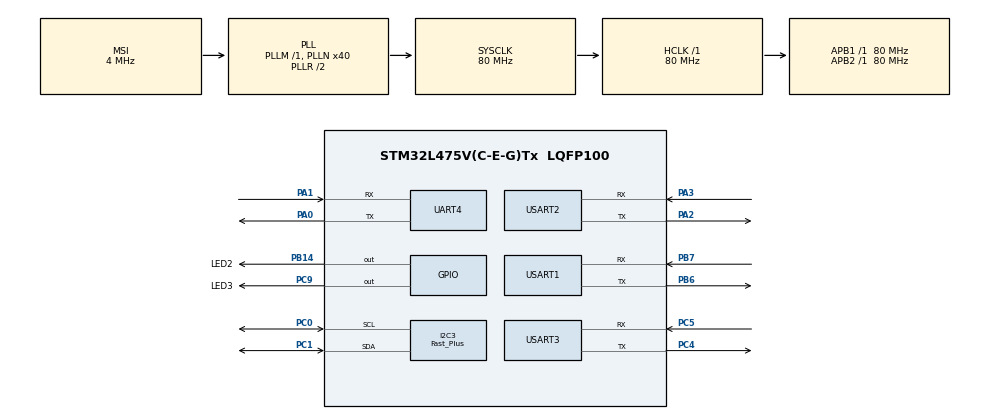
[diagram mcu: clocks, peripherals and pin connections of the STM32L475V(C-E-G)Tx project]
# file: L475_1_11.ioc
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Dma.I2C3_TX.0.Direction=DMA_MEMORY_TO_PERIPH
Dma.I2C3_TX.0.Instance=DMA1_Channel2
Dma.I2C3_TX.0.MemDataAlignment=DMA_MDATAALIGN_BYTE
Dma.I2C3_TX.0.MemInc=DMA_MINC_ENABLE
Dma.I2C3_TX.0.Mode=DMA_NORMAL
Dma.I2C3_TX.0.PeriphDataAlignment=DMA_PDATAALIGN_BYTE
Dma.I2C3_TX.0.PeriphInc=DMA_PINC_DISABLE
Dma.I2C3_TX.0.Priority=DMA_PRIORITY_LOW
Dma.Request0=I2C3_TX
FREERTOS.Tasks01=defaultTask,24,128,StartDefaultTask,Default,NULL,Dynamic,NULL,NULL
FREERTOS.Timers01=OledTimer,OledCallback,osTimerPeriodic,Default,NULL,Dynamic,NULL;msTimer,msTimerCallback,osTimerPeriodic,Default,NULL,Dynamic,NULL
FREERTOS.configENABLE_FPU=1
I2C3.I2C_Speed_Mode=I2C_Fast_Plus
I2C3.Timing=0x00B10E24
Mcu.Family=STM32L4
Mcu.Name=STM32L475V(C-E-G)Tx
Mcu.Package=LQFP100
NVIC.DMA1_Channel2_IRQn=true\:5\:0\:false\:false\:true\:true\:false\:true\:true
NVIC.I2C3_EV_IRQn=true\:5\:0\:false\:false\:true\:true\:true\:true\:true
NVIC.PriorityGroup=NVIC_PRIORITYGROUP_4
PA0.Mode=Asynchronous
PA0.Signal=UART4_TX
PA1.Mode=Asynchronous
PA1.Signal=UART4_RX
PA13\ (JTMS-SWDIO).Mode=Serial_Wire
PA13\ (JTMS-SWDIO).Signal=SYS_JTMS-SWDIO
PA14\ (JTCK-SWCLK).Mode=Serial_Wire
PA14\ (JTCK-SWCLK).Signal=SYS_JTCK-SWCLK
PA2.Mode=Asynchronous
PA2.Signal=USART2_TX
PA3.Mode=Asynchronous
PA3.Signal=USART2_RX
PB14.GPIO_Label=LED2
PB14.PinState=GPIO_PIN_SET
PB14.Signal=GPIO_Output
PB6.Mode=Asynchronous
PB6.Signal=USART1_TX
PB7.Mode=Asynchronous
PB7.Signal=USART1_RX
PC0.Mode=I2C
PC0.Signal=I2C3_SCL
PC1.Mode=I2C
PC1.Signal=I2C3_SDA
PC14-OSC32_IN\ (PC14).Mode=LSE-External-Oscillator
PC14-OSC32_IN\ (PC14).Signal=RCC_OSC32_IN
PC15-OSC32_OUT\ (PC15).Mode=LSE-External-Oscillator
PC15-OSC32_OUT\ (PC15).Signal=RCC_OSC32_OUT
PC4.Mode=Asynchronous
PC4.Signal=USART3_TX
PC5.Mode=Asynchronous
PC5.Signal=USART3_RX
PC9.GPIO_Label=LED3
PC9.Signal=GPIO_Output
ProjectManager.HeapSize=0x200
ProjectManager.StackSize=0x400
ProjectManager.TargetToolchain=STM32CubeIDE
RCC.ADCFreq_Value=16000000
RCC.AHBFreq_Value=80000000
RCC.APB1Freq_Value=80000000
RCC.APB1TimFreq_Value=80000000
RCC.APB2Freq_Value=80000000
RCC.APB2TimFreq_Value=80000000
RCC.CortexFreq_Value=80000000
RCC.HCLKFreq_Value=80000000
RCC.HSE_VALUE=8000000
RCC.HSI_VALUE=16000000
RCC.LSE_Drive_CapabilityArg=+LSE_Drive_Capability
RCC.MSIAutoCalibration=ENABLED
RCC.MSI_VALUE=4000000
RCC.PLLN=40
RCC.SYSCLKFreq_VALUE=80000000
RCC.SYSCLKSource=RCC_SYSCLKSOURCE_PLLCLK
RCC.USBFreq_Value=16000000
RCC.VCOOutputFreq_Value=160000000
USART1.VirtualMode-Asynchronous=VM_ASYNC
USART2.VirtualMode-Asynchronous=VM_ASYNC
USART3.VirtualMode-Asynchronous=VM_ASYNC
VP_FREERTOS_VS_CMSIS_V2.Mode=CMSIS_V2
board=custom

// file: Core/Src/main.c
/* USER CODE BEGIN Header */
/**
  ******************************************************************************
  * @file           : main.c
  * @brief          : Main program body
  ******************************************************************************
  * @attention
  *
  * Copyright (c) 2026 STMicroelectronics.
  * All rights reserved.
  *
  * This software is licensed under terms that can be found in the LICENSE file
  * in the root directory of this software component.
  * If no LICENSE file comes with this software, it is provided AS-IS.
  *
  ******************************************************************************
  */
/* USER CODE END Header */
#include "main.h"
#include "cmsis_os.h"
#include "dma.h"
#include "i2c.h"
#include "usart.h"
#include "gpio.h"

/* USER CODE BEGIN PV */
uint32_t FPS_Count= 0;
uint32_t FPS = 0;
int debug[10];
float debug_float[10];

/* USER CODE END PV */

void SystemClock_Config(void);
void MX_FREERTOS_Init(void);

int main(void)
{

  /* MCU Configuration--------------------------------------------------------*/

  /* Reset of all peripherals, Initializes the Flash interface and the Systick. */
  HAL_Init();

  /* Configure the system clock */
  SystemClock_Config();

  /* Initialize all configured peripherals */
  MX_GPIO_Init();
  MX_DMA_Init();
  MX_I2C3_Init();
  MX_UART4_Init();
  MX_USART1_UART_Init();
  MX_USART2_UART_Init();
  MX_USART3_UART_Init();
  /* USER CODE BEGIN 2 */
  InitGraph();
  ClearScreen();
  HAL_I2C_Mem_Write_DMA(&hi2c3, OLED_ADDRESS, 0x40, I2C_MEMADD_SIZE_8BIT, ScreenBuffer[0], SCREEN_PAGE_NUM * SCREEN_PAGEDATA_NUM);
  SetFontSize(0);
  OLED_LOGO();
  HAL_I2C_Mem_Write_DMA(&hi2c3, OLED_ADDRESS, 0x40, I2C_MEMADD_SIZE_8BIT, ScreenBuffer[0], SCREEN_PAGE_NUM * SCREEN_PAGEDATA_NUM);
  HAL_Delay(1000);
  ClearScreen();

  	DrawString(0,0,"STM32L475VG OLED");
  	DrawString(0,2,"   2026-02-10");
  	DrawString(0,4,"  hardware iic");
  	DrawString(50,6, "FPS: ");
    // float num1=-231.24;
    // float num2=-23.769;
  	// OLED_Showdecimal(0,0,num1,3,2);
  	// OLED_Showdecimal(7,6,num2,2,3);
  	// DrawString(0,0, "adc");

  // DrawString(0,0,"k");
  // DrawString(39,0,"e");
  // DrawString(77,0,"%");
  // DrawString(93,0,"m");
  // DrawString(0,2, "iv");
  // DrawString(66,2,"ov");
  // DrawString(0,4, "ic");
  // DrawString(66,4,"oc");
  // DrawString(0,6, "ip");
  // DrawString(66,6,"op");

  HAL_I2C_Mem_Write_DMA(&hi2c3, OLED_ADDRESS, 0x40, I2C_MEMADD_SIZE_8BIT, ScreenBuffer[0], SCREEN_PAGE_NUM * SCREEN_PAGEDATA_NUM);
  /* USER CODE END 2 */

  /* Init scheduler */
  osKernelInitialize();  /* Call init function for freertos objects (in cmsis_os2.c) */
  MX_FREERTOS_Init();

  /* Start scheduler */
  osKernelStart();

  /* We should never get here as control is now taken by the scheduler */

  /* Infinite loop */
  while (1)
  {

  }
}

void SystemClock_Config(void)
{
  RCC_OscInitTypeDef RCC_OscInitStruct = {0};
  RCC_ClkInitTypeDef RCC_ClkInitStruct = {0};

  /** Configure the main internal regulator output voltage
  */
  if (HAL_PWREx_ControlVoltageScaling(PWR_REGULATOR_VOLTAGE_SCALE1) != HAL_OK)
  {
    Error_Handler();
  }

  /** Configure LSE Drive Capability
  */
  HAL_PWR_EnableBkUpAccess();
  __HAL_RCC_LSEDRIVE_CONFIG(RCC_LSEDRIVE_LOW);

  /** Initializes the RCC Oscillators according to the specified parameters
  * in the RCC_OscInitTypeDef structure.
  */
  RCC_OscInitStruct.OscillatorType = RCC_OSCILLATORTYPE_LSE|RCC_OSCILLATORTYPE_MSI;
  RCC_OscInitStruct.LSEState = RCC_LSE_ON;
  RCC_OscInitStruct.MSIState = RCC_MSI_ON;
  RCC_OscInitStruct.MSICalibrationValue = 0;
  RCC_OscInitStruct.MSIClockRange = RCC_MSIRANGE_6;
  RCC_OscInitStruct.PLL.PLLState = RCC_PLL_ON;
  RCC_OscInitStruct.PLL.PLLSource = RCC_PLLSOURCE_MSI;
  RCC_OscInitStruct.PLL.PLLM = 1;
  RCC_OscInitStruct.PLL.PLLN = 40;
  RCC_OscInitStruct.PLL.PLLP = RCC_PLLP_DIV7;
  RCC_OscInitStruct.PLL.PLLQ = RCC_PLLQ_DIV2;
  RCC_OscInitStruct.PLL.PLLR = RCC_PLLR_DIV2;
  if (HAL_RCC_OscConfig(&RCC_OscInitStruct) != HAL_OK)
  {
    Error_Handler();
  }

  /** Initializes the CPU, AHB and APB buses clocks
  */
  RCC_ClkInitStruct.ClockType = RCC_CLOCKTYPE_HCLK|RCC_CLOCKTYPE_SYSCLK
                              |RCC_CLOCKTYPE_PCLK1|RCC_CLOCKTYPE_PCLK2;
  RCC_ClkInitStruct.SYSCLKSource = RCC_SYSCLKSOURCE_PLLCLK;
  RCC_ClkInitStruct.AHBCLKDivider = RCC_SYSCLK_DIV1;
  RCC_ClkInitStruct.APB1CLKDivider = RCC_HCLK_DIV1;
  RCC_ClkInitStruct.APB2CLKDivider = RCC_HCLK_DIV1;

  if (HAL_RCC_ClockConfig(&RCC_ClkInitStruct, FLASH_LATENCY_4) != HAL_OK)
  {
    Error_Handler();
  }

  /** Enable MSI Auto calibration
  */
  HAL_RCCEx_EnableMSIPLLMode();
}

void Error_Handler(void)
{
  __disable_irq();
  while (1)
  {
  }
}

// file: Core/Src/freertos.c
/* USER CODE BEGIN Header */
/**
  ******************************************************************************
  * File Name          : freertos.c
  * Description        : Code for freertos applications
  ******************************************************************************
  * @attention
  *
  * Copyright (c) 2026 STMicroelectronics.
  * All rights reserved.
  *
  * This software is licensed under terms that can be found in the LICENSE file
  * in the root directory of this software component.
  * If no LICENSE file comes with this software, it is provided AS-IS.
  *
  ******************************************************************************
  */
/* USER CODE END Header */

#include "FreeRTOS.h"
#include "task.h"
#include "main.h"
#include "cmsis_os.h"

/* USER CODE BEGIN Includes */
#include <stdio.h>
#include <string.h>
#include "oled_font.h"

/* USER CODE END Includes */

/* USER CODE BEGIN Variables */
float ELEC_inv=0.0f;
float ELEC_inc=0.0f;
float ELEC_outc=0.0f;
float ELEC_capv=0.0f;
float ELEC_capc=0.0f;
float ELEC_capp=0.0f;
float ELEC_inp=0.0f;
float ADC_VALUE=0.0f;
float ELEC_inp_capp=0.0f;
float ELEC_pe=0.0f;

typedef struct {
  uint16_t year;
  uint8_t  month;
  uint8_t  day;
  uint8_t  hour;
  uint8_t  min;
  uint8_t  sec;
} DateTime;

static DateTime g_time;

static char g_line2[17]; // y=2 date line (16 chars + '\0')
static char g_line4[17]; // y=4 time line (16 chars + '\0')

/* USER CODE END Variables */
/* Definitions for defaultTask */
osThreadId_t defaultTaskHandle;
const osThreadAttr_t defaultTask_attributes = {
  .name = "defaultTask",
  .stack_size = 128 * 4,
  .priority = (osPriority_t) osPriorityNormal,
};
/* Definitions for OledTimer */
osTimerId_t OledTimerHandle;
const osTimerAttr_t OledTimer_attributes = {
  .name = "OledTimer"
};
/* Definitions for msTimer */
osTimerId_t msTimerHandle;
const osTimerAttr_t msTimer_attributes = {
  .name = "msTimer"
};

/* USER CODE BEGIN FunctionPrototypes */
static uint8_t is_leap_year(uint16_t y);
static uint8_t days_in_month(uint16_t y, uint8_t m);

static void Clock_SetInitial(uint16_t y, uint8_t mo, uint8_t d,
                             uint8_t h, uint8_t mi, uint8_t s);
static void Clock_Tick1s(void);
static void Clock_DrawLine4(void);
static void Clock_DrawDateLine2(void);
static void Clock_DrawTimeLine4(void);

/* USER CODE END FunctionPrototypes */

void StartDefaultTask(void *argument);
void OledCallback(void *argument);
void msTimerCallback(void *argument);

void MX_FREERTOS_Init(void); /* (MISRA C 2004 rule 8.1) */

void MX_FREERTOS_Init(void) {

  /* Create the timer(s) */
  /* creation of OledTimer */
  OledTimerHandle = osTimerNew(OledCallback, osTimerPeriodic, NULL, &OledTimer_attributes);

  /* creation of msTimer */
  msTimerHandle = osTimerNew(msTimerCallback, osTimerPeriodic, NULL, &msTimer_attributes);

  /* USER CODE BEGIN RTOS_TIMERS */
  /* start timers, add new ones, ... */
  // osTimerStart(OledTimerHandle,500);
  // osTimerStart(msTimerHandle,50);

  osTimerStart(OledTimerHandle,100);
  osTimerStart(msTimerHandle,10);

  /* USER CODE END RTOS_TIMERS */

  /* Create the thread(s) */
  /* creation of defaultTask */
  defaultTaskHandle = osThreadNew(StartDefaultTask, NULL, &defaultTask_attributes);

}

void StartDefaultTask(void *argument)
{
  /* USER CODE BEGIN StartDefaultTask */

  // 放在 for(;;) 前面
  Clock_SetInitial(2026, 2, 11, 19, 30,58 );  // 你想要的初始时间：2026-02-10 12:00:00
  static uint32_t ms_Count = 0;

  /* Infinite loop */
  for(;;)
  {
    osDelay(1);

    if(++ms_Count >= 1000)
    {
      ms_Count = 0;

      Clock_Tick1s();
      taskENTER_CRITICAL();
      FPS = FPS_Count;
      FPS_Count = 0;
      taskEXIT_CRITICAL();

      Clock_DrawDateLine2();   // y=2
      Clock_DrawTimeLine4();   // y=4
      // FPS stays at y=6 from msTimerCallback(): DrawNum(80,6,...)
    }

  }
  /* USER CODE END StartDefaultTask */
}

/* OledCallback function */
void OledCallback(void *argument)
{
  /* USER CODE BEGIN OledCallback */
  HAL_GPIO_TogglePin(LED2_GPIO_Port,LED2_Pin);
  HAL_GPIO_TogglePin(LED3_GPIO_Port,LED3_Pin);

  /* USER CODE END OledCallback */
}

/* msTimerCallback function */
void msTimerCallback(void *argument)
{
  /* USER CODE BEGIN msTimerCallback */
  ++FPS_Count;
  DrawNum(80,6, FPS, 3);

  //
  // //			DrawNum(60,2, cap_v.valu[1], 5);
  // //			DrawNum(60,4, cap_c.valu[1], 5);
  // OLED_Showdecimal(9,0,debug_float[0],1,1);
  // OLED_Showdecimal(18,2,ELEC_inv,2,1);
  // OLED_Showdecimal(84,2,ELEC_capv,2,1);
  // OLED_Showdecimal(18,4,ELEC_inc,2,1);
  // OLED_Showdecimal(84,4,ELEC_capc,2,1);
  // //	OLED_Showdecimal(18,6,ELEC_outc,2,1);
  // OLED_Showdecimal(18,6,ELEC_inp,2,1);
  // OLED_Showdecimal(84,6,ELEC_capp,2,1);
  // OLED_Showdecimal(102,0,ELEC_inp_capp,1,1);
  // OLED_Showdecimal(48,0,ELEC_pe,2,1);

  //	HAL_GPIO_TogglePin(LED_G_GPIO_Port,LED_G_Pin);
  //	HAL_GPIO_TogglePin(LED_R_GPIO_Port,LED_R_Pin);
  HAL_I2C_Mem_Write_DMA(&hi2c3, OLED_ADDRESS, 0x40, I2C_MEMADD_SIZE_8BIT, ScreenBuffer[0], SCREEN_PAGE_NUM * SCREEN_PAGEDATA_NUM);

  /* USER CODE END msTimerCallback */
}

/* USER CODE BEGIN Application */
static uint8_t is_leap_year(uint16_t y)
{
  return ((y % 4 == 0 && y % 100 != 0) || (y % 400 == 0)) ? 1 : 0;
}

static uint8_t days_in_month(uint16_t y, uint8_t m)
{
  static const uint8_t dim[12] = {31,28,31,30,31,30,31,31,30,31,30,31};
  if (m == 2) return (uint8_t)(dim[1] + is_leap_year(y));
  if (m >= 1 && m <= 12) return dim[m - 1];
  return 31;
}

// 初始时间设置接口：你想设多少就设多少
static void Clock_SetInitial(uint16_t y, uint8_t mo, uint8_t d,
                             uint8_t h, uint8_t mi, uint8_t s)
{
  // 简单防呆（不合法就夹到合理范围）
  if (mo < 1) mo = 1; if (mo > 12) mo = 12;
  if (d < 1) d = 1;
  uint8_t maxd = days_in_month(y, mo);
  if (d > maxd) d = maxd;
  if (h > 23) h = 0;
  if (mi > 59) mi = 0;
  if (s > 59) s = 0;

  g_time.year  = y;
  g_time.month = mo;
  g_time.day   = d;
  g_time.hour  = h;
  g_time.min   = mi;
  g_time.sec   = s;
}

// 每秒调用一次：自增并处理进位（含日期进位、闰年）
static void Clock_Tick1s(void)
{
  g_time.sec++;
  if (g_time.sec >= 60) {
    g_time.sec = 0;
    g_time.min++;
    if (g_time.min >= 60) {
      g_time.min = 0;
      g_time.hour++;
      if (g_time.hour >= 24) {
        g_time.hour = 0;

        // 日期进位
        g_time.day++;
        uint8_t maxd = days_in_month(g_time.year, g_time.month);
        if (g_time.day > maxd) {
          g_time.day = 1;
          g_time.month++;
          if (g_time.month > 12) {
            g_time.month = 1;
            g_time.year++;
          }
        }
      }
    }
  }
}

// 生成显示字符串并画到(0,4)
static void Clock_DrawLine4(void)
{
  // 前面留三个空格，和你原来风格一致
  // OLED通常是等宽字体，建议固定宽度字段
  snprintf(g_line4, sizeof(g_line4),
           "   %04u-%02u-%02u %02u:%02u:%02u",
           g_time.year, g_time.month, g_time.day,
           g_time.hour, g_time.min, g_time.sec);

  DrawString(0, 4, g_line4);
}

static void Clock_DrawDateLine2(void)
{
  unsigned char old_size = GetFontSize();
  SetFontSize(0); // 8x16, 16 chars per line

  memset(g_line2, ' ', 16);
  g_line2[16] = '\0';

  // "   MM-DD-YYYY" (3 + 10 = 13 chars)
  uint16_t y = g_time.year;

  g_line2[3]  = '0' + (g_time.month / 10);
  g_line2[4]  = '0' + (g_time.month % 10);
  g_line2[5]  = '-';
  g_line2[6]  = '0' + (g_time.day / 10);
  g_line2[7]  = '0' + (g_time.day % 10);
  g_line2[8]  = '-';
  g_line2[9]  = '0' + (y / 1000) % 10;
  g_line2[10] = '0' + (y / 100)  % 10;
  g_line2[11] = '0' + (y / 10)   % 10;
  g_line2[12] = '0' + (y % 10);

  DrawString(0, 2, g_line2);

  SetFontSize(old_size);
}

static void Clock_DrawTimeLine4(void)
{
  unsigned char old_size = GetFontSize();
  SetFontSize(0); // 8x16, 16 chars per line

  memset(g_line4, ' ', 16);
  g_line4[16] = '\0';

  // "   HH:MM:SS" (3 + 8 = 11 chars)
  g_line4[3]  = '0' + (g_time.hour / 10);
  g_line4[4]  = '0' + (g_time.hour % 10);
  g_line4[5]  = ':';
  g_line4[6]  = '0' + (g_time.min / 10);
  g_line4[7]  = '0' + (g_time.min % 10);
  g_line4[8]  = ':';
  g_line4[9]  = '0' + (g_time.sec / 10);
  g_line4[10] = '0' + (g_time.sec % 10);

  DrawString(0, 4, g_line4);

  SetFontSize(old_size);
}

/* USER CODE END Application */
